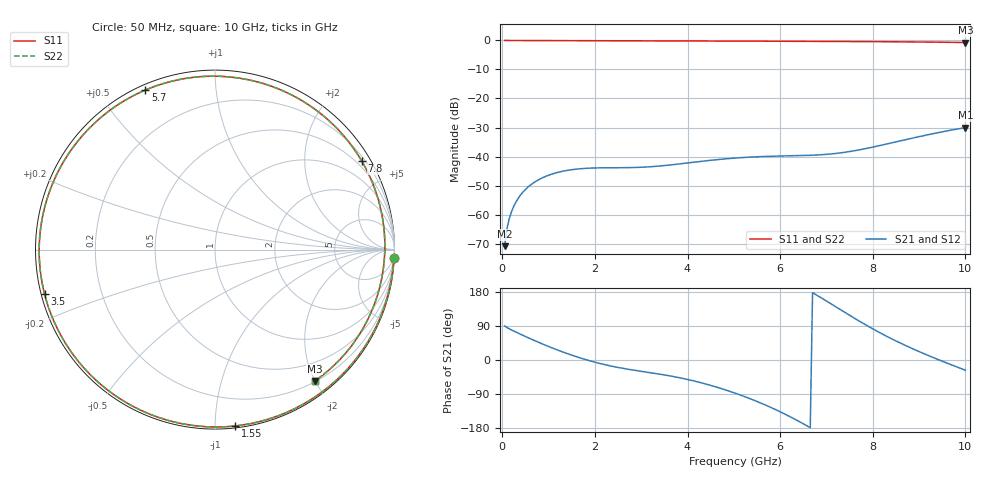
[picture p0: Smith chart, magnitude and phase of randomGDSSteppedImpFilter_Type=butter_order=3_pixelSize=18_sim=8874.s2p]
! freq	dB(S11)	phase(S11)	dB(S12)	phase(S12)
!  dB(S21)	phase(S21)	dB(S22)	phase(S22)
!S-par simulation data
#  GHz  S  DB  R 50
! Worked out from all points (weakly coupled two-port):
!   200 points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, 50 MHz to 10 GHz, reference 50 ohm
!   highest |S21| = -30.04 dB at 10 GHz (marker M1); lowest = -70.9 dB at 50 MHz (marker M2)
!   lowest |S11| = -0.7 dB at 10 GHz (marker M3), VSWR 23.81, Z = 10.6 - j99.9 ohm
!   |S11| at or under -10 dB: nowhere
!   |S22| runs from -0.7 to 0.0 dB; largest |S21 - S12| = 0
!   S11 on the Smith chart (normalised r, x): 50 MHz: 2, -42; 1.55 GHz: 0.01, -1.12; 3.5 GHz: 0.01, -0.13; 5.7 GHz: 0.02, +0.65; 7.8 GHz: 0.32, +3.57; 10 GHz: 0.21, -2.00
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0.05  -0.02 -2.7  -70.86 89.9  -70.86 89.9  -0.01 -2.8
0.1  -0.03 -5.6  -64.90 85.7  -64.90 85.7  -0.02 -5.6
0.2  -0.03 -11.3  -58.94 79.3  -58.94 79.3  -0.03 -11.4
0.45  -0.04 -25.5  -52.17 64.8  -52.17 64.8  -0.04 -25.5
0.7  -0.05 -39.4  -48.77 51.0  -48.77 51.0  -0.05 -39.4
1  -0.07 -55.5  -46.42 35.6  -46.42 35.6  -0.07 -55.6
1.55  -0.10 -83.4  -44.42 10.7  -44.42 10.7  -0.10 -83.4
1.75  -0.10 -92.9  -44.11 2.9  -44.11 2.9  -0.10 -93.0
2.15  -0.12 -111.1  -43.87 -10.5  -43.87 -10.5  -0.12 -111.1
2.6  -0.13 -130.2  -43.83 -22.0  -43.83 -22.0  -0.13 -130.3
3.4  -0.16 -161.7  -43.25 -37.3  -43.25 -37.3  -0.16 -161.8
3.5  -0.16 -165.5  -43.10 -39.4  -43.10 -39.4  -0.16 -165.5
4.25  -0.19 166.9  -41.73 -58.7  -41.73 -58.7  -0.19 166.8
5.05  -0.23 137.7  -40.49 -88.4  -40.49 -88.4  -0.23 137.6
5.7  -0.27 113.6  -39.94 -119.7  -39.94 -119.7  -0.27 113.5
6.2  -0.29 94.5  -39.75 -148.7  -39.75 -148.7  -0.29 94.4
6.7  -0.32 75.0  -39.53 177.7  -39.53 177.7  -0.32 74.9
7.2  -0.35 55.1  -38.93 140.6  -38.93 140.6  -0.35 55.1
7.8  -0.40 31.1  -37.41 96.1  -37.41 96.1  -0.40 31.0
8.35  -0.45 9.2  -35.49 59.4  -35.49 59.4  -0.45 9.1
9.1  -0.55 -19.9  -32.79 17.0  -32.79 17.0  -0.55 -19.9
10  -0.73 -52.8  -30.04 -26.9  -30.04 -26.9  -0.73 -52.8
